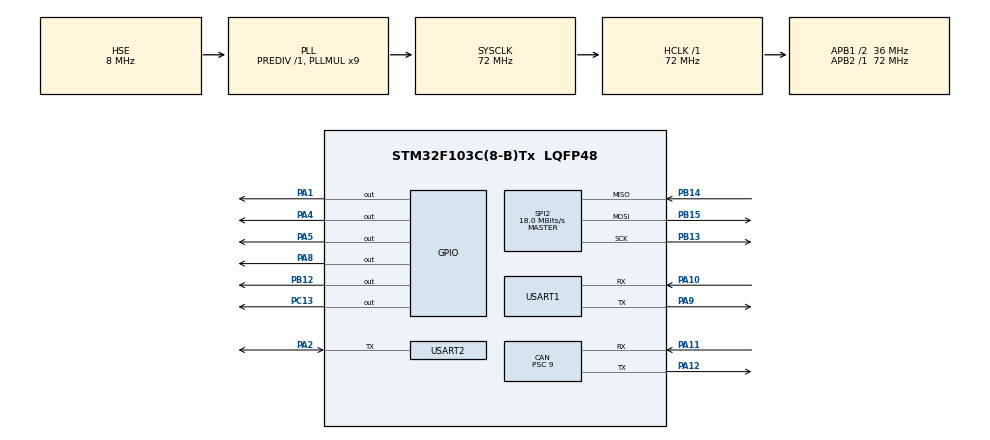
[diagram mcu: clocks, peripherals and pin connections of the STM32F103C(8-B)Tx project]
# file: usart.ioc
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CAN.BS1=CAN_BS1_4TQ
CAN.BS2=CAN_BS2_3TQ
CAN.CalculateBaudRate=500000
CAN.CalculateTimeBit=2000
CAN.CalculateTimeQuantum=250.0
CAN.Prescaler=9
Mcu.Family=STM32F1
Mcu.Name=STM32F103C(8-B)Tx
Mcu.Package=LQFP48
NVIC.PriorityGroup=NVIC_PRIORITYGROUP_4
NVIC.USB_LP_CAN1_RX0_IRQn=true\:0\:0\:false\:false\:true\:true\:true\:true
PA1.Signal=GPIO_Output
PA10.Mode=Asynchronous
PA10.Signal=USART1_RX
PA11.Mode=CAN_Activate
PA11.Signal=CAN_RX
PA12.Mode=CAN_Activate
PA12.Signal=CAN_TX
PA13.Mode=Serial_Wire
PA13.Signal=SYS_JTMS-SWDIO
PA14.Mode=Serial_Wire
PA14.Signal=SYS_JTCK-SWCLK
PA2.Mode=Half_duplex(single_wire_mode)
PA2.Signal=USART2_TX
PA4.Signal=GPIO_Output
PA5.Signal=GPIO_Output
PA8.Signal=GPIO_Output
PA9.Mode=Asynchronous
PA9.Signal=USART1_TX
PB12.Signal=GPIO_Output
PB13.Mode=Full_Duplex_Master
PB13.Signal=SPI2_SCK
PB14.Mode=Full_Duplex_Master
PB14.Signal=SPI2_MISO
PB15.Mode=Full_Duplex_Master
PB15.Signal=SPI2_MOSI
PC13-TAMPER-RTC.Signal=GPIO_Output
PD0-OSC_IN.Mode=HSE-External-Oscillator
PD0-OSC_IN.Signal=RCC_OSC_IN
PD1-OSC_OUT.Mode=HSE-External-Oscillator
PD1-OSC_OUT.Signal=RCC_OSC_OUT
ProjectManager.HeapSize=0x200
ProjectManager.StackSize=0x400
ProjectManager.TargetToolchain=STM32CubeIDE
RCC.AHBFreq_Value=72000000
RCC.APB1CLKDivider=RCC_HCLK_DIV2
RCC.APB1Freq_Value=36000000
RCC.APB1TimFreq_Value=72000000
RCC.APB2Freq_Value=72000000
RCC.APB2TimFreq_Value=72000000
RCC.HCLKFreq_Value=72000000
RCC.PLLMUL=RCC_PLL_MUL9
RCC.PLLSourceVirtual=RCC_PLLSOURCE_HSE
RCC.SYSCLKFreq_VALUE=72000000
RCC.SYSCLKSource=RCC_SYSCLKSOURCE_PLLCLK
RCC.USBFreq_Value=72000000
SPI2.CalculateBaudRate=18.0 MBits/s
SPI2.DataSize=SPI_DATASIZE_8BIT
SPI2.Direction=SPI_DIRECTION_2LINES
SPI2.Mode=SPI_MODE_MASTER
SPI2.VirtualType=VM_MASTER
USART1.VirtualMode=VM_ASYNC
USART2.VirtualMode=VM_ASYNC
board=custom

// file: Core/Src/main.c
/* USER CODE BEGIN Header */
/**
  ******************************************************************************
  * @file           : main.c
  * @brief          : Main program body
  ******************************************************************************
  * @attention
  *
  * Copyright (c) 2023 STMicroelectronics.
  * All rights reserved.
  *
  * This software is licensed under terms that can be found in the LICENSE file
  * in the root directory of this software component.
  * If no LICENSE file comes with this software, it is provided AS-IS.
  *
  ******************************************************************************
  */
/* USER CODE END Header */
#include "main.h"

/* USER CODE BEGIN Includes */
#include <string.h>
#include <stdlib.h>
#include <stdio.h>
#include "wizchip_conf.h"
#include "socket.h"
/* USER CODE END Includes */

/* USER CODE BEGIN PD */
#define TIMEOUT 2000
#define DEVICE_ID 0x200
#define ATTEMPTS 5
#define DEBUG 1
/* USER CODE END PD */

CAN_HandleTypeDef hcan;

SPI_HandleTypeDef hspi2;

UART_HandleTypeDef huart1;
UART_HandleTypeDef huart2;

/* USER CODE BEGIN PV */
DS18B20 temperatureSensor;

CAN_RxHeaderTypeDef rxHeader; //CAN Bus Transmit Header
CAN_TxHeaderTypeDef txHeader; //CAN Bus Receive Header
uint8_t canRX[8];
uint8_t canTX[8];
uint32_t canMailbox;

int16_t failsafe = 0;
uint8_t newData = 0;
uint8_t attempts = 0;
uint32_t currentId = 0x00;
uint32_t ids[8] = {0x210, 0x211, 0x212, 0x213, 0x214, 0x215, 0x216, 0x217};
uint8_t buff[10];
char *arr[2];
int32_t ret = 0;
uint8_t i = 0;
char *p;
uint8_t id = 0;
float temp = 0.0f;
uint8_t r = 0;
char *pEnd = 0;
char tempBuff[8];
/* USER CODE END PV */

void SystemClock_Config(void);
static void MX_GPIO_Init(void);
static void MX_USART1_UART_Init(void);
static void MX_USART2_UART_Init(void);
static void MX_SPI2_Init(void);
static void MX_CAN_Init(void);
/* USER CODE BEGIN PFP */

void trace(const char *buf);

// включить модуль W5500 сигналом SCNn=0
__attribute__((unused)) void cs_sel()
{
    HAL_GPIO_WritePin(GPIOB, GPIO_PIN_12, GPIO_PIN_RESET); //CS LOW
}

// выключить модуль W5500 сигналом SCNn=1
__attribute__((unused)) void cs_desel()
{
    HAL_GPIO_WritePin(GPIOB, GPIO_PIN_12, GPIO_PIN_SET); //CS HIGH
}

// принять байт через SPI
__attribute__((unused)) uint8_t spi_rb(void)
{
    uint8_t rbuf;
    HAL_SPI_Receive(&hspi2, &rbuf, 1, 0xFFFFFFFF);
    return rbuf;
}

// передать байт через SPI
__attribute__((unused)) void spi_wb(uint8_t b)
{
    HAL_SPI_Transmit(&hspi2, &b, 1, 0xFFFFFFFF);
}

/* USER CODE END PFP */

/* USER CODE BEGIN 0 */

float getTemp()
{
    DS18B20_InitializationCommand(&temperatureSensor);
    DS18B20_SkipRom(&temperatureSensor);
    DS18B20_ConvertT(&temperatureSensor, DS18B20_DATA);
    DS18B20_InitializationCommand(&temperatureSensor);
    DS18B20_SkipRom(&temperatureSensor);
    DS18B20_ReadScratchpad(&temperatureSensor);
    return temperatureSensor.temperature;
}

uint8_t sendCommandToCANSlave(uint32_t localDeviceIid, uint8_t *command)
{
    currentId = ids[localDeviceIid - 1];
    txHeader.StdId = currentId;
    attempts = ATTEMPTS + 1;
    strcpy((char *) canTX, command);
    failsafe = 0;

    while(1)
    {
        if (newData)
        {
            break;
        }

        if (attempts == 0)
        {
            trace("Fail to send\r\n");
            return 0;
        }

        if (failsafe <= 0)
        {
            trace("Send command ");
            trace(canTX);
            trace(" to slave\r\n");
            HAL_CAN_AddTxMessage(&hcan, &txHeader, canTX, &canMailbox);
            failsafe = TIMEOUT;
            attempts--;
        }
    }

    trace("OK\r\n");
    memset(canTX, 0, sizeof(canTX));
    strcpy((char *) canTX, "OK");
    trace("Send command ");
    trace(canTX);
    trace(" to slave\r\n");
    HAL_CAN_AddTxMessage(&hcan, &txHeader, canTX, &canMailbox);
    newData = 0;
    return 1;
}

void sendToSocket(uint8_t *data)
{
    if ((send(0, data, strlen(data))) == (int16_t) strlen(data))
    {
        trace("Send to socket: ");
        trace(data);
        trace("\r\n");
    }
    else
    {
        trace("Error while sending to socket!\r\n");
    }
}

void tcp_server()
{
    trace("Try open socket\r\n");

    if(socket(0, Sn_MR_TCP, 5000, 0) != 0)
    {
        trace("Error open socket\r\n");
        return;
    }

    trace("Socket opened, try listen\r\n");

    if(listen(0) != SOCK_OK)
    {
        trace("Error listen socket\r\n");
        return;
    }

    trace("Socked listened, wait for input connection\r\n");

    while(getSn_SR(0) == SOCK_LISTEN)
    {
        HAL_Delay(200);
        HAL_GPIO_TogglePin(GPIOC, GPIO_PIN_13);
    }

    trace("Input connection\r\n");

    if(getSn_SR(0) != SOCK_ESTABLISHED)
    {
        trace("Error socket status\r\n");
        return;
    }

    while ((ret = recv(0, (uint8_t *) buff, sizeof(buff)-1)) != SOCKERR_SOCKSTATUS)
    {
        if (ret > 0)
        {
            p = strtok(buff, "-");
            while (p != NULL)
            {
                arr[i++] = p;
                p = strtok(NULL, "-");
            }

            id = strtol(arr[0], &pEnd, 10);

            if (id == 0)
            {
                if (strcmp((char *) arr[1], "get_tmp") == 0)
                {
                    trace("Get temperature from master device\r\n");
                    temp = getTemp();
                    r = snprintf(tempBuff, sizeof tempBuff, "%.*f", 2, temp);
                    if (r < 0)
                    {
                        sendToSocket("ERROR");
                    }
                    else
                    {
                        sendToSocket(tempBuff);
                    }
                }
                else if (strcmp((char *) arr[1], "rl1_off") == 0)
                {
                    trace("Relay 1 OFF on master\r\n");
                    HAL_GPIO_WritePin(GPIOA, GPIO_PIN_1, GPIO_PIN_SET);
                    sendToSocket("OK");
                }
                else if (strcmp((char *) arr[1], "rl1_on") == 0)
                {
                    trace("Relay 1 ON on master\r\n");
                    HAL_GPIO_WritePin(GPIOA, GPIO_PIN_1, GPIO_PIN_RESET);
                    sendToSocket("OK");
                }
                else if (strcmp((char *) arr[1], "rl2_off") == 0)
                {
                    trace("Relay 2 OFF on master\r\n");
                    HAL_GPIO_WritePin(GPIOA, GPIO_PIN_4, GPIO_PIN_SET);
                    sendToSocket("OK");
                }
                else if (strcmp((char *) arr[1], "rl2_on") == 0)
                {
                    trace("Relay 2 ON on master\r\n");
                    HAL_GPIO_WritePin(GPIOA, GPIO_PIN_4, GPIO_PIN_RESET);
                    sendToSocket("OK");
                }
                else if (strcmp((char *) arr[1], "rl3_off") == 0)
                {
                    trace("Relay 3 OFF on master\r\n");
                    HAL_GPIO_WritePin(GPIOA, GPIO_PIN_5, GPIO_PIN_SET);
                    sendToSocket("OK");
                }
                else if (strcmp((char *) arr[1], "rl3_on") == 0)
                {
                    trace("Relay 3 ON on master\r\n");
                    HAL_GPIO_WritePin(GPIOA, GPIO_PIN_5, GPIO_PIN_RESET);
                    sendToSocket("OK");
                }
                else if (strcmp((char *) arr[1], "rl4_off") == 0)
                {
                    trace("Relay 4 OFF on master\r\n");
                    HAL_GPIO_WritePin(GPIOA, GPIO_PIN_8, GPIO_PIN_SET);
                    sendToSocket("OK");
                }
                else if (strcmp((char *) arr[1], "rl4_on") == 0)
                {
                    trace("Relay 4 ON on master\r\n");
                    HAL_GPIO_WritePin(GPIOA, GPIO_PIN_8, GPIO_PIN_RESET);
                    sendToSocket("OK");
                }
                else
                {
                    sendToSocket("UNKNOWN_COMMAND");
                    trace("Unknown command for master device\r\n");
                }
            }
            else if (id >= 1 && id <= 7)
            {
                if (strcmp((char *) arr[1], "get_tmp") == 0)
                {
                    trace("Get temperature from device with id ");
                    trace(arr[0]);
                    trace("\r\n");
                    if (sendCommandToCANSlave(id, arr[1]))
                    {
                        sendToSocket(canRX);
                    }
                    else
                    {
                        sendToSocket("FAILED");
                    }
                }
                else if (strcmp((char *) arr[1], "led_on") == 0)
                {
                    if (id != 2)
                    {
                        trace("Power on LED on device with id ");
                        trace(arr[0]);
                        trace("\r\n");
                        if (sendCommandToCANSlave(id, arr[1]))
                        {
                            sendToSocket(canRX);
                        }
                        else
                        {
                            sendToSocket("FAILED");
                        }
                    }
                    else
                    {
                        sendToSocket("UNKNOWN_COMMAND");
                        trace("Unknown command for slave device with id ");
                        trace(arr[0]);
                        trace("\r\n");
                    }
                }
                else if (strcmp((char *) arr[1], "led_off") == 0)
                {
                    if (id != 2)
                    {
                        trace("Power off LED on device with id ");
                        trace(arr[0]);
                        trace("\r\n");
                        if (sendCommandToCANSlave(id, arr[1]))
                        {
                            sendToSocket(canRX);
                        }
                        else
                        {
                            sendToSocket("FAILED");
                        }
                    }
                    else
                    {
                        sendToSocket("UNKNOWN_COMMAND");
                        trace("Unknown command for slave device with id ");
                        trace(arr[0]);
                        trace("\r\n");
                    }
                }
                else if (id == 2) {
                    if (strcmp((char *) arr[1], "rl1_on") == 0)
                    {
                        trace("Relay 1 ON on device with id ");
                        trace(arr[0]);
                        trace("\r\n");
                        if (sendCommandToCANSlave(id, arr[1]))
                        {
                            sendToSocket(canRX);
                        }
                        else
                        {
                            sendToSocket("FAILED");
                        }
                    }
                    else if (strcmp((char *) arr[1], "rl1_off") == 0)
                    {
                        trace("Relay 1 OFF on device with id ");
                        trace(arr[0]);
                        trace("\r\n");
                        if (sendCommandToCANSlave(id, arr[1]))
                        {
                            sendToSocket(canRX);
                        }
                        else
                        {
                            sendToSocket("FAILED");
                        }
                    }
                    else if (strcmp((char *) arr[1], "rl2_on") == 0)
                    {
                        trace("Relay 2 ON on device with id ");
                        trace(arr[0]);
                        trace("\r\n");
                        if (sendCommandToCANSlave(id, arr[1]))
                        {
                            sendToSocket(canRX);
                        }
                        else
                        {
                            sendToSocket("FAILED");
                        }
                    }
                    else if (strcmp((char *) arr[1], "rl2_off") == 0)
                    {
                        trace("Relay 2 OFF on device with id ");
                        trace(arr[0]);
                        trace("\r\n");
                        if (sendCommandToCANSlave(id, arr[1]))
                        {
                            sendToSocket(canRX);
                        }
                        else
                        {
                            sendToSocket("FAILED");
                        }
                    }
                    else if (strcmp((char *) arr[1], "rl3_on") == 0)
                    {
                        trace("Relay 3 ON on device with id ");
                        trace(arr[0]);
                        trace("\r\n");
                        if (sendCommandToCANSlave(id, arr[1]))
                        {
                            sendToSocket(canRX);
                        }
                        else
                        {
                            sendToSocket("FAILED");
                        }
                    }
                    else if (strcmp((char *) arr[1], "rl3_off") == 0)
                    {
                        trace("Relay 3 OFF on device with id ");
                        trace(arr[0]);
                        trace("\r\n");
                        if (sendCommandToCANSlave(id, arr[1]))
                        {
                            sendToSocket(canRX);
                        }
                        else
                        {
                            sendToSocket("FAILED");
                        }
                    }
                    else if (strcmp((char *) arr[1], "rl4_on") == 0)
                    {
                        trace("Relay 4 ON on device with id ");
                        trace(arr[0]);
                        trace("\r\n");
                        if (sendCommandToCANSlave(id, arr[1]))
                        {
                            sendToSocket(canRX);
                        }
                        else
                        {
                            sendToSocket("FAILED");
                        }
                    }
                    else if (strcmp((char *) arr[1], "rl4_off") == 0)
                    {
                        trace("Relay 4 OFF on device with id ");
                        trace(arr[0]);
                        trace("\r\n");
                        if (sendCommandToCANSlave(id, arr[1]))
                        {
                            sendToSocket(canRX);
                        }
                        else
                        {
                            sendToSocket("FAILED");
                        }
                    }
                }
                else
                {
                    sendToSocket("UNKNOWN_COMMAND");
                    trace("Unknown command for slave device with id ");
                    trace(arr[0]);
                    trace("\r\n");
                }

                memset(canTX, 0, sizeof(canTX));
                memset(canRX, 0, sizeof(canRX));
            }
            else
            {
                sendToSocket("INVALID_ID");
                trace("Invalid ID\r\n");
            }

            memset(arr, 0, sizeof(arr));
            i = 0;
            p = 0;
            id = 0;
            pEnd = 0;
        }
        memset(buff, 0, sizeof(buff));
        ret = 0;
    }

    trace("Connection closed\r\n");

    disconnect(0);
    close(0);
}

void trace(const char *buf) {
#pragma clang diagnostic push
#pragma ide diagnostic ignored "Simplify"
    if (DEBUG)
    {
        uint8_t size = strlen(buf);
        uint16_t time = 87 * size / 1000 + 5;
        HAL_UART_Transmit(&huart1, (uint8_t *) buf, size, time);
    }
#pragma clang diagnostic pop
}
/* USER CODE END 0 */

int main(void)
{

  /* MCU Configuration--------------------------------------------------------*/

  /* Reset of all peripherals, Initializes the Flash interface and the Systick. */
  HAL_Init();

  /* Configure the system clock */
  SystemClock_Config();

  /* Initialize all configured peripherals */
  MX_GPIO_Init();
  MX_USART1_UART_Init();
  MX_USART2_UART_Init();
  MX_SPI2_Init();
  MX_CAN_Init();

  /* Infinite loop */
  /* USER CODE BEGIN WHILE */
  while (1)
  {
      tcp_server();
    /* USER CODE END WHILE */

  }
}

void SystemClock_Config(void)
{
  RCC_OscInitTypeDef RCC_OscInitStruct = {0};
  RCC_ClkInitTypeDef RCC_ClkInitStruct = {0};

  /** Initializes the RCC Oscillators according to the specified parameters
  * in the RCC_OscInitTypeDef structure.
  */
  RCC_OscInitStruct.OscillatorType = RCC_OSCILLATORTYPE_HSE;
  RCC_OscInitStruct.HSEState = RCC_HSE_ON;
  RCC_OscInitStruct.HSEPredivValue = RCC_HSE_PREDIV_DIV1;
  RCC_OscInitStruct.HSIState = RCC_HSI_ON;
  RCC_OscInitStruct.PLL.PLLState = RCC_PLL_ON;
  RCC_OscInitStruct.PLL.PLLSource = RCC_PLLSOURCE_HSE;
  RCC_OscInitStruct.PLL.PLLMUL = RCC_PLL_MUL9;
  if (HAL_RCC_OscConfig(&RCC_OscInitStruct) != HAL_OK)
  {
    Error_Handler();
  }

  /** Initializes the CPU, AHB and APB buses clocks
  */
  RCC_ClkInitStruct.ClockType = RCC_CLOCKTYPE_HCLK|RCC_CLOCKTYPE_SYSCLK
                              |RCC_CLOCKTYPE_PCLK1|RCC_CLOCKTYPE_PCLK2;
  RCC_ClkInitStruct.SYSCLKSource = RCC_SYSCLKSOURCE_PLLCLK;
  RCC_ClkInitStruct.AHBCLKDivider = RCC_SYSCLK_DIV1;
  RCC_ClkInitStruct.APB1CLKDivider = RCC_HCLK_DIV2;
  RCC_ClkInitStruct.APB2CLKDivider = RCC_HCLK_DIV1;

  if (HAL_RCC_ClockConfig(&RCC_ClkInitStruct, FLASH_LATENCY_2) != HAL_OK)
  {
    Error_Handler();
  }
}

static void MX_CAN_Init(void)
{

  hcan.Instance = CAN1;
  hcan.Init.Prescaler = 9;
  hcan.Init.Mode = CAN_MODE_NORMAL;
  hcan.Init.SyncJumpWidth = CAN_SJW_1TQ;
  hcan.Init.TimeSeg1 = CAN_BS1_4TQ;
  hcan.Init.TimeSeg2 = CAN_BS2_3TQ;
  hcan.Init.TimeTriggeredMode = DISABLE;
  hcan.Init.AutoBusOff = DISABLE;
  hcan.Init.AutoWakeUp = DISABLE;
  hcan.Init.AutoRetransmission = DISABLE;
  hcan.Init.ReceiveFifoLocked = DISABLE;
  hcan.Init.TransmitFifoPriority = DISABLE;
  if (HAL_CAN_Init(&hcan) != HAL_OK)
  {
    Error_Handler();
  }
  /* USER CODE BEGIN CAN_Init 2 */
  CAN_FilterTypeDef canFilter;

  canFilter.FilterBank = 0;
  canFilter.FilterMode = CAN_FILTERMODE_IDMASK;
  canFilter.FilterFIFOAssignment = CAN_RX_FIFO0;
  canFilter.FilterIdHigh = 0;
  canFilter.FilterIdLow = 0;
  canFilter.FilterMaskIdHigh = 0;
  canFilter.FilterMaskIdLow = 0;
  canFilter.FilterScale = CAN_FILTERSCALE_32BIT;
  canFilter.FilterActivation = ENABLE;
  canFilter.SlaveStartFilterBank = 14;

  HAL_CAN_ConfigFilter(&hcan,&canFilter);

  if (HAL_CAN_Start(&hcan) != HAL_OK)
  {
      Error_Handler();
  }

  if (HAL_CAN_ActivateNotification(&hcan, CAN_IT_RX_FIFO0_MSG_PENDING) != HAL_OK)
  {
      Error_Handler();
  }

  txHeader.DLC = 8;
  txHeader.IDE = CAN_ID_STD;
  txHeader.RTR = CAN_RTR_DATA;
  txHeader.StdId = DEVICE_ID;
  txHeader.ExtId = 0x00;
  txHeader.TransmitGlobalTime = DISABLE;
  /* USER CODE END CAN_Init 2 */

}

static void MX_SPI2_Init(void)
{

  /* SPI2 parameter configuration*/
  hspi2.Instance = SPI2;
  hspi2.Init.Mode = SPI_MODE_MASTER;
  hspi2.Init.Direction = SPI_DIRECTION_2LINES;
  hspi2.Init.DataSize = SPI_DATASIZE_8BIT;
  hspi2.Init.CLKPolarity = SPI_POLARITY_LOW;
  hspi2.Init.CLKPhase = SPI_PHASE_1EDGE;
  hspi2.Init.NSS = SPI_NSS_SOFT;
  hspi2.Init.BaudRatePrescaler = SPI_BAUDRATEPRESCALER_2;
  hspi2.Init.FirstBit = SPI_FIRSTBIT_MSB;
  hspi2.Init.TIMode = SPI_TIMODE_DISABLE;
  hspi2.Init.CRCCalculation = SPI_CRCCALCULATION_DISABLE;
  hspi2.Init.CRCPolynomial = 10;
  if (HAL_SPI_Init(&hspi2) != HAL_OK)
  {
    Error_Handler();
  }
  /* USER CODE BEGIN SPI2_Init 2 */
  reg_wizchip_cs_cbfunc(cs_sel, cs_desel);
  reg_wizchip_spi_cbfunc(spi_rb, spi_wb);

  uint8_t bufSize[] = {2, 2, 2, 2};
  wizchip_init(bufSize, bufSize);
  wiz_NetInfo netInfo ={
          .mac = {0x00, 0x08, 0xdc, 0xab, 0xcd, 0xef},
          .ip = {192, 168, 10, 75},
          .sn = {255, 255, 255, 0},
          .gw = {192, 168, 10, 1}
  };
  wizchip_setnetinfo(&netInfo);
  wizchip_getnetinfo(&netInfo);
  /* USER CODE END SPI2_Init 2 */

}

static void MX_USART1_UART_Init(void)
{

  huart1.Instance = USART1;
  huart1.Init.BaudRate = 115200;
  huart1.Init.WordLength = UART_WORDLENGTH_8B;
  huart1.Init.StopBits = UART_STOPBITS_1;
  huart1.Init.Parity = UART_PARITY_NONE;
  huart1.Init.Mode = UART_MODE_TX_RX;
  huart1.Init.HwFlowCtl = UART_HWCONTROL_NONE;
  huart1.Init.OverSampling = UART_OVERSAMPLING_16;
  if (HAL_UART_Init(&huart1) != HAL_OK)
  {
    Error_Handler();
  }

}

static void MX_USART2_UART_Init(void)
{

  huart2.Instance = USART2;
  huart2.Init.BaudRate = 115200;
  huart2.Init.WordLength = UART_WORDLENGTH_8B;
  huart2.Init.StopBits = UART_STOPBITS_1;
  huart2.Init.Parity = UART_PARITY_NONE;
  huart2.Init.Mode = UART_MODE_TX_RX;
  huart2.Init.HwFlowCtl = UART_HWCONTROL_NONE;
  huart2.Init.OverSampling = UART_OVERSAMPLING_16;
  if (HAL_HalfDuplex_Init(&huart2) != HAL_OK)
  {
    Error_Handler();
  }
  /* USER CODE BEGIN USART2_Init 2 */
  DS18B20_Init(&temperatureSensor, &huart2);
  DS18B20_InitializationCommand(&temperatureSensor);
  DS18B20_ReadRom(&temperatureSensor);
  DS18B20_ReadScratchpad(&temperatureSensor);
  uint8_t settings[3];
  settings[0] = temperatureSensor.temperatureLimitHigh;
  settings[1] = temperatureSensor.temperatureLimitLow;
  settings[2] = DS18B20_12_BITS_CONFIG;
  DS18B20_InitializationCommand(&temperatureSensor);
  DS18B20_SkipRom(&temperatureSensor);
  DS18B20_WriteScratchpad(&temperatureSensor, settings);
  /* USER CODE END USART2_Init 2 */

}

static void MX_GPIO_Init(void)
{
  GPIO_InitTypeDef GPIO_InitStruct = {0};

  /* GPIO Ports Clock Enable */
  __HAL_RCC_GPIOC_CLK_ENABLE();
  __HAL_RCC_GPIOD_CLK_ENABLE();
  __HAL_RCC_GPIOA_CLK_ENABLE();
  __HAL_RCC_GPIOB_CLK_ENABLE();

  /*Configure GPIO pin Output Level */
  HAL_GPIO_WritePin(GPIOC, GPIO_PIN_13, GPIO_PIN_RESET);

  /*Configure GPIO pin Output Level */
  HAL_GPIO_WritePin(GPIOA, GPIO_PIN_1|GPIO_PIN_4|GPIO_PIN_5|GPIO_PIN_8, GPIO_PIN_SET);

  /*Configure GPIO pin Output Level */
  HAL_GPIO_WritePin(GPIOB, GPIO_PIN_12, GPIO_PIN_RESET);

  /*Configure GPIO pin : PC13 */
  GPIO_InitStruct.Pin = GPIO_PIN_13;
  GPIO_InitStruct.Mode = GPIO_MODE_OUTPUT_PP;
  GPIO_InitStruct.Pull = GPIO_NOPULL;
  GPIO_InitStruct.Speed = GPIO_SPEED_FREQ_LOW;
  HAL_GPIO_Init(GPIOC, &GPIO_InitStruct);

  /*Configure GPIO pins : PA1 PA4 PA5 PA8 */
  GPIO_InitStruct.Pin = GPIO_PIN_1|GPIO_PIN_4|GPIO_PIN_5|GPIO_PIN_8;
  GPIO_InitStruct.Mode = GPIO_MODE_OUTPUT_PP;
  GPIO_InitStruct.Pull = GPIO_NOPULL;
  GPIO_InitStruct.Speed = GPIO_SPEED_FREQ_LOW;
  HAL_GPIO_Init(GPIOA, &GPIO_InitStruct);

  /*Configure GPIO pin : PB12 */
  GPIO_InitStruct.Pin = GPIO_PIN_12;
  GPIO_InitStruct.Mode = GPIO_MODE_OUTPUT_PP;
  GPIO_InitStruct.Pull = GPIO_NOPULL;
  GPIO_InitStruct.Speed = GPIO_SPEED_FREQ_LOW;
  HAL_GPIO_Init(GPIOB, &GPIO_InitStruct);

}

/* USER CODE BEGIN 4 */
void HAL_CAN_RxFifo0MsgPendingCallback(CAN_HandleTypeDef *hcan1)
{
    if (HAL_CAN_GetRxMessage(hcan1, CAN_RX_FIFO0, &rxHeader, canRX) != HAL_OK)
    {
        Error_Handler();
    }

    if (rxHeader.StdId == currentId)
    {
        newData = 1;
        trace("New Data\n");
    } else {
        trace("Data from unknown device\n");
        newData = 0;
    }
}
/* USER CODE END 4 */

void Error_Handler(void)
{
  __disable_irq();
  while (1)
  {
  }
}
